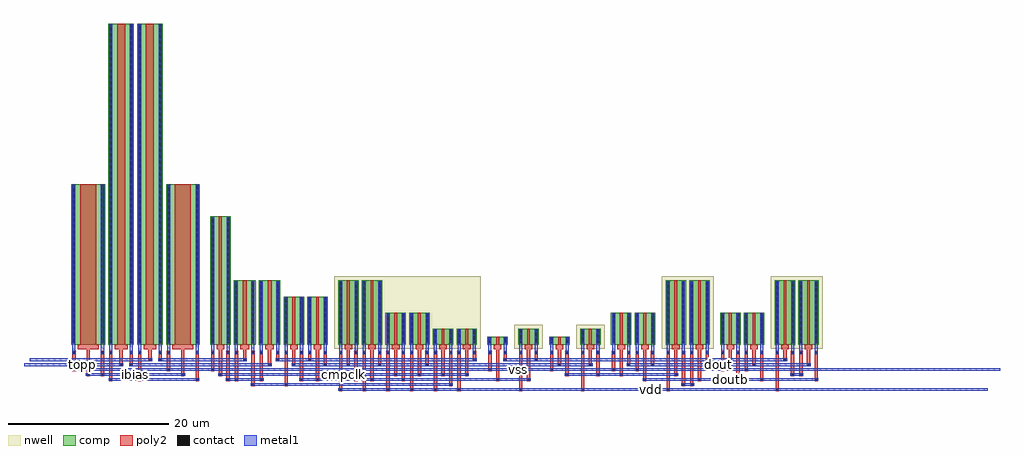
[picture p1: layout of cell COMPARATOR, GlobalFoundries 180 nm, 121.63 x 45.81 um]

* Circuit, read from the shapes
.subckt COMPARATOR cmpclk dout doutb ibias topn topp vdd vss
XM1 ibias ibias vss VSUBS nfet_03v3 w=20u l=2u
XM2 n1 topp n2 VSUBS nfet_03v3 w=40u l=1u
XM3 n3 topn n2 VSUBS nfet_03v3 w=40u l=1u
XM4 n2 ibias vss VSUBS nfet_03v3 w=20u l=2u
XM5 n4 cmpclk vss VSUBS nfet_03v3 w=16u l=0.35u
XM6 n5 n3 n4 VSUBS nfet_03v3 w=8u l=0.5u
XM7 n6 n1 n4 VSUBS nfet_03v3 w=8u l=0.5u
XM8 n7 n8 n5 VSUBS nfet_03v3 w=6u l=0.35u
XM9 n8 n7 n6 VSUBS nfet_03v3 w=6u l=0.35u
XM10 n9 n7 vss VSUBS nfet_03v3 w=1u l=0.35u
XM11 n10 n8 vss VSUBS nfet_03v3 w=1u l=0.35u
XM12 dout n10 vss VSUBS nfet_03v3 w=4u l=0.35u
XM13 dout doutb vss VSUBS nfet_03v3 w=4u l=0.35u
XM14 doutb n9 vss VSUBS nfet_03v3 w=4u l=0.35u
XM15 doutb dout vss VSUBS nfet_03v3 w=4u l=0.35u
XM16 n7 n8 vdd n11 pfet_03v3 w=8u l=0.35u
XM17 n8 n7 vdd n11 pfet_03v3 w=8u l=0.35u
XM18 n7 cmpclk vdd n11 pfet_03v3 w=4u l=0.35u
XM19 n8 cmpclk vdd n11 pfet_03v3 w=4u l=0.35u
XM20 n5 cmpclk vdd n11 pfet_03v3 w=2u l=0.35u
XM21 n6 cmpclk vdd n11 pfet_03v3 w=2u l=0.35u
XM22 n9 n7 vdd n12 pfet_03v3 w=2u l=0.35u
XM23 n10 n8 vdd n13 pfet_03v3 w=2u l=0.35u
XM24 n14 n10 vdd n15 pfet_03v3 w=8u l=0.35u
XM25 dout doutb n14 n15 pfet_03v3 w=8u l=0.35u
XM26 n16 n9 vdd n17 pfet_03v3 w=8u l=0.35u
XM27 doutb dout n16 n17 pfet_03v3 w=8u l=0.35u
.ends

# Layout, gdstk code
import gdstk
lib = gdstk.Library(unit=1e-6, precision=1e-09)
def R(c, l, rs):  # rectangles x0, y0, x1, y1
    for r in rs: c.add(gdstk.rectangle(r[:2], r[2:], *l))
def A(c, l, x, y, w, h, nx, ny, dx, dy):  # array of equal rectangles
    R(c, l, [(x+i*dx, y+j*dy, x+i*dx+w, y+j*dy+h) for i in range(nx) for j in range(ny)])
nwell = (21, 0)
comp = (22, 0)
poly2 = (30, 0)
contact = (33, 0)
metal1 = (34, 0)

comparator = lib.new_cell('COMPARATOR')
R(comparator, nwell, [(32.75,-0.5,51.05,8.5), (55.2,-0.5,58.75,2.5), (62.9,-0.5,66.45,2.5), (73.55,-0.5,80.05,8.5), (87.15,-0.5,93.65,8.5)])
A(comparator, comp, 48, 0, 2.55, 2, 3, 1, 7.7, 0)
R(comparator, comp, [(0,0,4.2,20), (4.6,0,7.8,40), (8.2,0,11.4,40), (11.8,0,16,20), (17.3,0,19.85,16), (20.25,0,22.95,8), (23.35,0,26.05,8), (26.45,0,29,6), (29.4,0,31.95,6), (33.25,0,35.8,8), (36.2,0,38.75,8), (39.15,0,41.7,4), (42.1,0,44.65,4), (45.05,0,47.6,2), (51.85,0,54.4,1), (59.55,0,62.1,1), (67.25,0,69.8,4), (70.2,0,72.75,4), (74.05,0,76.6,8), (77,0,79.55,8), (80.85,0,83.4,4), (83.8,0,86.35,4), (87.65,0,90.2,8), (90.6,0,93.15,8)])
A(comparator, poly2, 33.37, -5.81, 0.4, 4.61, 6, 1, 2.95, 0)
A(comparator, poly2, 40.225, -3.95, 0.4, 2.75, 4, 1, 2.95, 0)
A(comparator, poly2, 51.97, -3.33, 0.4, 2.13, 3, 1, 7.7, 0)
A(comparator, poly2, 50.03, -2.09, 0.4, 0.89, 3, 1, 3.85, 0)
A(comparator, poly2, 34.325, -1.2, 0.4, 0.6, 6, 1, 2.95, 0)
A(comparator, poly2, 52.925, -1.2, 0.4, 0.6, 5, 1, 3.85, 0)
A(comparator, poly2, 34.05, -0.6, 0.95, 0.6, 6, 1, 2.95, 0)
A(comparator, poly2, 52.65, -0.6, 0.95, 0.6, 5, 1, 3.85, 0)
A(comparator, poly2, 49.1, 0, 0.35, 2, 3, 1, 7.7, 0)
R(comparator, poly2, [(55.82,-5.81,56.22,-1.2), (63.52,-5.81,63.92,-1.2), (74.17,-5.81,74.57,-1.2), (87.77,-5.81,88.17,-1.2), (22.43,-5.19,22.83,-1.2), (26.57,-5.19,26.97,-1.2), (47.08,-5.19,47.48,-1.2), (76.08,-5.19,76.48,-1.2), (77.12,-5.19,77.52,-1.2), (4.72,-4.57,5.12,-1.2), (8.32,-4.57,8.72,-1.2), (15.48,-4.57,15.88,-1.2), (19.33,-4.57,19.73,-1.2), (20.37,-4.57,20.77,-1.2), (23.47,-4.57,23.87,-1.2), (28.48,-4.57,28.88,-1.2), (30.475,-4.57,30.875,-1.2), (35.28,-4.57,35.68,-1.2), (37.275,-4.57,37.675,-1.2), (41.18,-4.57,41.58,-1.2), (52.925,-4.57,53.325,-1.2), (56.775,-4.57,57.175,-1.2), (71.275,-4.57,71.675,-1.2), (78.075,-4.57,78.475,-1.2), (82.88,-4.57,83.28,-1.2), (85.83,-4.57,86.23,-1.2), (92.63,-4.57,93.03,-1.2), (1.9,-3.95,2.3,-1.2), (3.68,-3.95,4.08,-1.2), (13.7,-3.95,14.1,-1.2), (18.375,-3.95,18.775,-1.2), (61.58,-3.95,61.98,-1.2), (65.43,-3.95,65.83,-1.2), (68.325,-3.95,68.725,-1.2), (75.125,-3.95,75.525,-1.2), (89.68,-3.95,90.08,-1.2), (90.72,-3.95,91.12,-1.2), (0.12,-3.33,0.52,-1.2), (11.92,-3.33,12.32,-1.2), (17.42,-3.33,17.82,-1.2), (70.32,-3.33,70.72,-1.2), (80.97,-3.33,81.37,-1.2), (83.92,-3.33,84.32,-1.2), (6,-2.71,6.4,-1.2), (7.28,-2.71,7.68,-1.2), (24.5,-2.71,24.9,-1.2), (27.525,-2.71,27.925,-1.2), (31.43,-2.71,31.83,-1.2), (34.325,-2.71,34.725,-1.2), (38.23,-2.71,38.63,-1.2), (44.13,-2.71,44.53,-1.2), (60.625,-2.71,61.025,-1.2), (64.475,-2.71,64.875,-1.2), (69.28,-2.71,69.68,-1.2), (72.23,-2.71,72.63,-1.2), (79.03,-2.71,79.43,-1.2), (84.875,-2.71,85.275,-1.2), (91.675,-2.71,92.075,-1.2), (9.6,-2.09,10,-1.2), (10.88,-2.09,11.28,-1.2), (21.4,-2.09,21.8,-1.2), (25.53,-2.09,25.93,-1.2), (29.52,-2.09,29.92,-1.2), (81.925,-2.09,82.325,-1.2), (88.725,-2.09,89.125,-1.2), (0.12,-1.2,0.52,-0.74), (1.9,-1.2,2.3,-0.6), (3.68,-1.2,4.08,-0.74), (4.72,-1.2,5.12,-0.74), (6,-1.2,6.4,-0.6), (7.28,-1.2,7.68,-0.74), (8.32,-1.2,8.72,-0.74), (9.6,-1.2,10,-0.6), (10.88,-1.2,11.28,-0.74), (11.92,-1.2,12.32,-0.74), (13.7,-1.2,14.1,-0.6), (15.48,-1.2,15.88,-0.74), (17.42,-1.2,17.82,-0.74), (18.375,-1.2,18.775,-0.6), (19.33,-1.2,19.73,-0.74), (20.37,-1.2,20.77,-0.74), (21.4,-1.2,21.8,-0.6), (22.43,-1.2,22.83,-0.74), (23.47,-1.2,23.87,-0.74), (24.5,-1.2,24.9,-0.6), (25.53,-1.2,25.93,-0.74), (26.57,-1.2,26.97,-0.74), (27.525,-1.2,27.925,-0.6), (28.48,-1.2,28.88,-0.74), (29.52,-1.2,29.92,-0.74), (30.475,-1.2,30.875,-0.6), (31.43,-1.2,31.83,-0.74), (33.37,-1.2,33.77,-0.74), (35.28,-1.2,35.68,-0.74), (36.32,-1.2,36.72,-0.74), (38.23,-1.2,38.63,-0.74), (39.27,-1.2,39.67,-0.74), (41.18,-1.2,41.58,-0.74), (42.22,-1.2,42.62,-0.74), (44.13,-1.2,44.53,-0.74), (45.17,-1.2,45.57,-0.74), (47.08,-1.2,47.48,-0.74), (48.12,-1.2,48.52,-0.74), (50.03,-1.2,50.43,-0.74), (51.97,-1.2,52.37,-0.74), (53.88,-1.2,54.28,-0.74), (55.82,-1.2,56.22,-0.74), (57.73,-1.2,58.13,-0.74), (59.67,-1.2,60.07,-0.74), (61.58,-1.2,61.98,-0.74), (63.52,-1.2,63.92,-0.74), (65.43,-1.2,65.83,-0.74), (67.37,-1.2,67.77,-0.74), (69.28,-1.2,69.68,-0.74), (70.32,-1.2,70.72,-0.74), (71.275,-1.2,71.675,-0.6), (72.23,-1.2,72.63,-0.74), (74.17,-1.2,74.57,-0.74), (75.125,-1.2,75.525,-0.6), (76.08,-1.2,76.48,-0.74), (77.12,-1.2,77.52,-0.74), (78.075,-1.2,78.475,-0.6), (79.03,-1.2,79.43,-0.74), (80.97,-1.2,81.37,-0.74), (81.925,-1.2,82.325,-0.6), (82.88,-1.2,83.28,-0.74), (83.92,-1.2,84.32,-0.74), (84.875,-1.2,85.275,-0.6), (85.83,-1.2,86.23,-0.74), (87.77,-1.2,88.17,-0.74), (88.725,-1.2,89.125,-0.6), (89.68,-1.2,90.08,-0.74), (90.72,-1.2,91.12,-0.74), (91.675,-1.2,92.075,-0.6), (92.63,-1.2,93.03,-0.74), (0.8,-0.6,3.4,0), (5.4,-0.6,7,0), (9,-0.6,10.6,0), (12.6,-0.6,15.2,0), (18.1,-0.6,19.05,0), (21.05,-0.6,22.15,0), (24.15,-0.6,25.25,0), (27.25,-0.6,28.2,0), (30.2,-0.6,31.15,0), (71,-0.6,71.95,0), (74.85,-0.6,75.8,0), (77.8,-0.6,78.75,0), (81.65,-0.6,82.6,0), (84.6,-0.6,85.55,0), (88.45,-0.6,89.4,0), (91.4,-0.6,92.35,0), (1.1,0,3.1,20), (5.7,0,6.7,40), (9.3,0,10.3,40), (12.9,0,14.9,20), (18.4,0,18.75,16), (21.35,0,21.85,8), (24.45,0,24.95,8), (27.55,0,27.9,6), (30.5,0,30.85,6), (34.35,0,34.7,8), (37.3,0,37.65,8), (40.25,0,40.6,4), (43.2,0,43.55,4), (46.15,0,46.5,2), (52.95,0,53.3,1), (60.65,0,61,1), (68.35,0,68.7,4), (71.3,0,71.65,4), (75.15,0,75.5,8), (78.1,0,78.45,8), (81.95,0,82.3,4), (84.9,0,85.25,4), (88.75,0,89.1,8), (91.7,0,92.05,8)])
A(comparator, contact, 33.45, -5.71, 0.24, 0.24, 6, 1, 2.95, 0)
A(comparator, contact, 40.305, -3.85, 0.24, 0.24, 4, 1, 2.95, 0)
A(comparator, contact, 52.05, -3.23, 0.24, 0.24, 3, 1, 7.7, 0)
A(comparator, contact, 50.11, -1.99, 0.24, 0.24, 3, 1, 3.85, 0)
R(comparator, contact, [(55.9,-5.71,56.14,-5.47), (63.6,-5.71,63.84,-5.47), (74.25,-5.71,74.49,-5.47), (87.85,-5.71,88.09,-5.47), (22.51,-5.09,22.75,-4.85), (26.65,-5.09,26.89,-4.85), (47.16,-5.09,47.4,-4.85), (76.16,-5.09,76.4,-4.85), (77.2,-5.09,77.44,-4.85), (4.8,-4.47,5.04,-4.23), (8.4,-4.47,8.64,-4.23), (15.56,-4.47,15.8,-4.23), (19.41,-4.47,19.65,-4.23), (20.45,-4.47,20.69,-4.23), (23.55,-4.47,23.79,-4.23), (28.56,-4.47,28.8,-4.23), (30.555,-4.47,30.795,-4.23), (35.36,-4.47,35.6,-4.23), (37.355,-4.47,37.595,-4.23), (41.26,-4.47,41.5,-4.23), (53.005,-4.47,53.245,-4.23), (56.855,-4.47,57.095,-4.23), (71.355,-4.47,71.595,-4.23), (78.155,-4.47,78.395,-4.23), (82.96,-4.47,83.2,-4.23), (85.91,-4.47,86.15,-4.23), (92.71,-4.47,92.95,-4.23), (1.98,-3.85,2.22,-3.61), (3.76,-3.85,4,-3.61), (13.78,-3.85,14.02,-3.61), (18.455,-3.85,18.695,-3.61), (61.66,-3.85,61.9,-3.61), (65.51,-3.85,65.75,-3.61), (68.405,-3.85,68.645,-3.61), (75.205,-3.85,75.445,-3.61), (89.76,-3.85,90,-3.61), (90.8,-3.85,91.04,-3.61), (0.2,-3.23,0.44,-2.99), (12,-3.23,12.24,-2.99), (17.5,-3.23,17.74,-2.99), (70.4,-3.23,70.64,-2.99), (81.05,-3.23,81.29,-2.99), (84,-3.23,84.24,-2.99), (6.08,-2.61,6.32,-2.37), (7.36,-2.61,7.6,-2.37), (24.58,-2.61,24.82,-2.37), (27.605,-2.61,27.845,-2.37), (31.51,-2.61,31.75,-2.37), (34.405,-2.61,34.645,-2.37), (38.31,-2.61,38.55,-2.37), (44.21,-2.61,44.45,-2.37), (60.705,-2.61,60.945,-2.37), (64.555,-2.61,64.795,-2.37), (69.36,-2.61,69.6,-2.37), (72.31,-2.61,72.55,-2.37), (79.11,-2.61,79.35,-2.37), (84.955,-2.61,85.195,-2.37), (91.755,-2.61,91.995,-2.37), (9.68,-1.99,9.92,-1.75), (10.96,-1.99,11.2,-1.75), (21.48,-1.99,21.72,-1.75), (25.61,-1.99,25.85,-1.75), (29.6,-1.99,29.84,-1.75), (82.005,-1.99,82.245,-1.75), (88.805,-1.99,89.045,-1.75), (0.2,-1.1,0.44,-0.86), (3.76,-1.1,4,-0.86), (4.8,-1.1,5.04,-0.86), (7.36,-1.1,7.6,-0.86), (8.4,-1.1,8.64,-0.86), (10.96,-1.1,11.2,-0.86), (12,-1.1,12.24,-0.86), (15.56,-1.1,15.8,-0.86), (17.5,-1.1,17.74,-0.86), (19.41,-1.1,19.65,-0.86), (20.45,-1.1,20.69,-0.86), (22.51,-1.1,22.75,-0.86), (23.55,-1.1,23.79,-0.86), (25.61,-1.1,25.85,-0.86), (26.65,-1.1,26.89,-0.86), (28.56,-1.1,28.8,-0.86), (29.6,-1.1,29.84,-0.86), (31.51,-1.1,31.75,-0.86), (33.45,-1.1,33.69,-0.86), (35.36,-1.1,35.6,-0.86), (36.4,-1.1,36.64,-0.86), (38.31,-1.1,38.55,-0.86), (39.35,-1.1,39.59,-0.86), (41.26,-1.1,41.5,-0.86), (42.3,-1.1,42.54,-0.86), (44.21,-1.1,44.45,-0.86), (45.25,-1.1,45.49,-0.86), (47.16,-1.1,47.4,-0.86), (48.2,-1.1,48.44,-0.86), (50.11,-1.1,50.35,-0.86), (52.05,-1.1,52.29,-0.86), (53.96,-1.1,54.2,-0.86), (55.9,-1.1,56.14,-0.86), (57.81,-1.1,58.05,-0.86), (59.75,-1.1,59.99,-0.86), (61.66,-1.1,61.9,-0.86), (63.6,-1.1,63.84,-0.86), (65.51,-1.1,65.75,-0.86), (67.45,-1.1,67.69,-0.86), (69.36,-1.1,69.6,-0.86), (70.4,-1.1,70.64,-0.86), (72.31,-1.1,72.55,-0.86), (74.25,-1.1,74.49,-0.86), (76.16,-1.1,76.4,-0.86), (77.2,-1.1,77.44,-0.86), (79.11,-1.1,79.35,-0.86), (81.05,-1.1,81.29,-0.86), (82.96,-1.1,83.2,-0.86), (84,-1.1,84.24,-0.86), (85.91,-1.1,86.15,-0.86), (87.85,-1.1,88.09,-0.86), (89.76,-1.1,90,-0.86), (90.8,-1.1,91.04,-0.86), (92.71,-1.1,92.95,-0.86), (0.19,0.15,0.45,19.85), (3.75,0.15,4.01,19.85), (4.79,0.15,5.05,39.85), (7.35,0.15,7.61,39.85), (8.39,0.15,8.65,39.85), (10.95,0.15,11.21,39.85), (11.99,0.15,12.25,19.85), (15.55,0.15,15.81,19.85), (17.49,0.15,17.75,15.85), (19.4,0.15,19.66,15.85), (20.44,0.15,20.7,7.85), (22.5,0.15,22.76,7.85), (23.54,0.15,23.8,7.85), (25.6,0.15,25.86,7.85), (26.64,0.15,26.9,5.85), (28.55,0.15,28.81,5.85), (29.59,0.15,29.85,5.85), (31.5,0.15,31.76,5.85), (33.44,0.15,33.7,7.85), (35.35,0.15,35.61,7.85), (36.39,0.15,36.65,7.85), (38.3,0.15,38.56,7.85), (39.34,0.15,39.6,3.85), (41.25,0.15,41.51,3.85), (42.29,0.15,42.55,3.85), (44.2,0.15,44.46,3.85), (45.24,0.15,45.5,1.85), (47.15,0.15,47.41,1.85), (48.19,0.15,48.45,1.85), (50.1,0.15,50.36,1.85), (52.04,0.15,52.3,0.85), (53.95,0.15,54.21,0.85), (55.89,0.15,56.15,1.85), (57.8,0.15,58.06,1.85), (59.74,0.15,60,0.85), (61.65,0.15,61.91,0.85), (63.59,0.15,63.85,1.85), (65.5,0.15,65.76,1.85), (67.44,0.15,67.7,3.85), (69.35,0.15,69.61,3.85), (70.39,0.15,70.65,3.85), (72.3,0.15,72.56,3.85), (74.24,0.15,74.5,7.85), (76.15,0.15,76.41,7.85), (77.19,0.15,77.45,7.85), (79.1,0.15,79.36,7.85), (81.04,0.15,81.3,3.85), (82.95,0.15,83.21,3.85), (83.99,0.15,84.25,3.85), (85.9,0.15,86.16,3.85), (87.84,0.15,88.1,7.85), (89.75,0.15,90.01,7.85), (90.79,0.15,91.05,7.85), (92.7,0.15,92.96,7.85)])
R(comparator, metal1, [(33.29,-5.76,111.43,-5.42), (33.29,-5.76,114.23,-5.42), (22.35,-5.14,47.56,-4.8), (76,-5.14,77.6,-4.8), (4.64,-4.52,15.96,-4.18), (19.25,-4.52,23.95,-4.18), (28.4,-4.52,57.255,-4.18), (71.195,-4.52,93.11,-4.18), (1.82,-3.9,14.18,-3.56), (18.295,-3.9,49.555,-3.56), (61.5,-3.9,75.605,-3.56), (89.6,-3.9,91.2,-3.56), (0.04,-3.28,111.43,-2.94), (0.04,-3.28,115.73,-2.94), (-5.9,-2.66,6.48,-2.32), (-3.78,-2.66,6.48,-2.32), (7.2,-2.66,24.98,-2.32), (27.445,-2.66,64.955,-2.32), (69.2,-2.66,92.155,-2.32), (-5.2,-2.04,10.08,-1.7), (-3.78,-2.04,10.08,-1.7), (10.8,-2.04,21.88,-1.7), (25.45,-2.04,50.51,-1.7), (53.8,-2.04,89.205,-1.7), (0.13,-1.2,0.51,0.09), (3.69,-1.2,4.07,0.09), (4.73,-1.2,5.11,0.09), (7.29,-1.2,7.67,0.09), (8.33,-1.2,8.71,0.09), (10.89,-1.2,11.27,0.09), (11.93,-1.2,12.31,0.09), (15.49,-1.2,15.87,0.09), (17.43,-1.2,17.81,0.09), (19.34,-1.2,19.72,0.09), (20.38,-1.2,20.76,0.09), (22.44,-1.2,22.82,0.09), (23.48,-1.2,23.86,0.09), (25.54,-1.2,25.92,0.09), (26.58,-1.2,26.96,0.09), (28.49,-1.2,28.87,0.09), (29.53,-1.2,29.91,0.09), (31.44,-1.2,31.82,0.09), (33.38,-1.2,33.76,0.09), (35.29,-1.2,35.67,0.09), (36.33,-1.2,36.71,0.09), (38.24,-1.2,38.62,0.09), (39.28,-1.2,39.66,0.09), (41.19,-1.2,41.57,0.09), (42.23,-1.2,42.61,0.09), (44.14,-1.2,44.52,0.09), (45.18,-1.2,45.56,0.09), (47.09,-1.2,47.47,0.09), (48.13,-1.2,48.51,0.09), (50.04,-1.2,50.42,0.09), (51.98,-1.2,52.36,0.09), (53.89,-1.2,54.27,0.09), (55.83,-1.2,56.21,0.09), (57.74,-1.2,58.12,0.09), (59.68,-1.2,60.06,0.09), (61.59,-1.2,61.97,0.09), (63.53,-1.2,63.91,0.09), (65.44,-1.2,65.82,0.09), (67.38,-1.2,67.76,0.09), (69.29,-1.2,69.67,0.09), (70.33,-1.2,70.71,0.09), (72.24,-1.2,72.62,0.09), (74.18,-1.2,74.56,0.09), (76.09,-1.2,76.47,0.09), (77.13,-1.2,77.51,0.09), (79.04,-1.2,79.42,0.09), (80.98,-1.2,81.36,0.09), (82.89,-1.2,83.27,0.09), (83.93,-1.2,84.31,0.09), (85.84,-1.2,86.22,0.09), (87.78,-1.2,88.16,0.09), (89.69,-1.2,90.07,0.09), (90.73,-1.2,91.11,0.09), (92.64,-1.2,93.02,0.09), (0.13,0.09,0.51,19.91), (3.69,0.09,4.07,19.91), (4.73,0.09,5.11,39.91), (7.29,0.09,7.67,39.91), (8.33,0.09,8.71,39.91), (10.89,0.09,11.27,39.91), (11.93,0.09,12.31,19.91), (15.49,0.09,15.87,19.91), (17.43,0.09,17.81,15.91), (19.34,0.09,19.72,15.91), (20.38,0.09,20.76,7.91), (22.44,0.09,22.82,7.91), (23.48,0.09,23.86,7.91), (25.54,0.09,25.92,7.91), (26.58,0.09,26.96,5.91), (28.49,0.09,28.87,5.91), (29.53,0.09,29.91,5.91), (31.44,0.09,31.82,5.91), (33.38,0.09,33.76,7.91), (35.29,0.09,35.67,7.91), (36.33,0.09,36.71,7.91), (38.24,0.09,38.62,7.91), (39.28,0.09,39.66,3.91), (41.19,0.09,41.57,3.91), (42.23,0.09,42.61,3.91), (44.14,0.09,44.52,3.91), (45.18,0.09,45.56,1.91), (47.09,0.09,47.47,1.91), (48.13,0.09,48.51,1.91), (50.04,0.09,50.42,1.91), (51.98,0.09,52.36,0.91), (53.89,0.09,54.27,0.91), (55.83,0.09,56.21,1.91), (57.74,0.09,58.12,1.91), (59.68,0.09,60.06,0.91), (61.59,0.09,61.97,0.91), (63.53,0.09,63.91,1.91), (65.44,0.09,65.82,1.91), (67.38,0.09,67.76,3.91), (69.29,0.09,69.67,3.91), (70.33,0.09,70.71,3.91), (72.24,0.09,72.62,3.91), (74.18,0.09,74.56,7.91), (76.09,0.09,76.47,7.91), (77.13,0.09,77.51,7.91), (79.04,0.09,79.42,7.91), (80.98,0.09,81.36,3.91), (82.89,0.09,83.27,3.91), (83.93,0.09,84.31,3.91), (85.84,0.09,86.22,3.91), (87.78,0.09,88.16,7.91), (89.69,0.09,90.07,7.91), (90.73,0.09,91.11,7.91), (92.64,0.09,93.02,7.91)])
comparator.add(gdstk.Label('vss', (55.735,-3.11), layer=34, texttype=10))
comparator.add(gdstk.Label('ibias', (8,-3.73), layer=34, texttype=10))
comparator.add(gdstk.Label('topp', (1.35,-2.49), layer=34, texttype=10))
comparator.add(gdstk.Label('topn', (3.15,-1.87), layer=34, texttype=10))
comparator.add(gdstk.Label('cmpclk', (33.925,-3.73), layer=34, texttype=10))
comparator.add(gdstk.Label('vdd', (72.36,-5.59), layer=34, texttype=10))
comparator.add(gdstk.Label('dout', (80.677,-2.49), layer=34, texttype=10))
comparator.add(gdstk.Label('doutb', (82.152,-4.35), layer=34, texttype=10))

lib.write_gds('COMPARATOR.gds')
